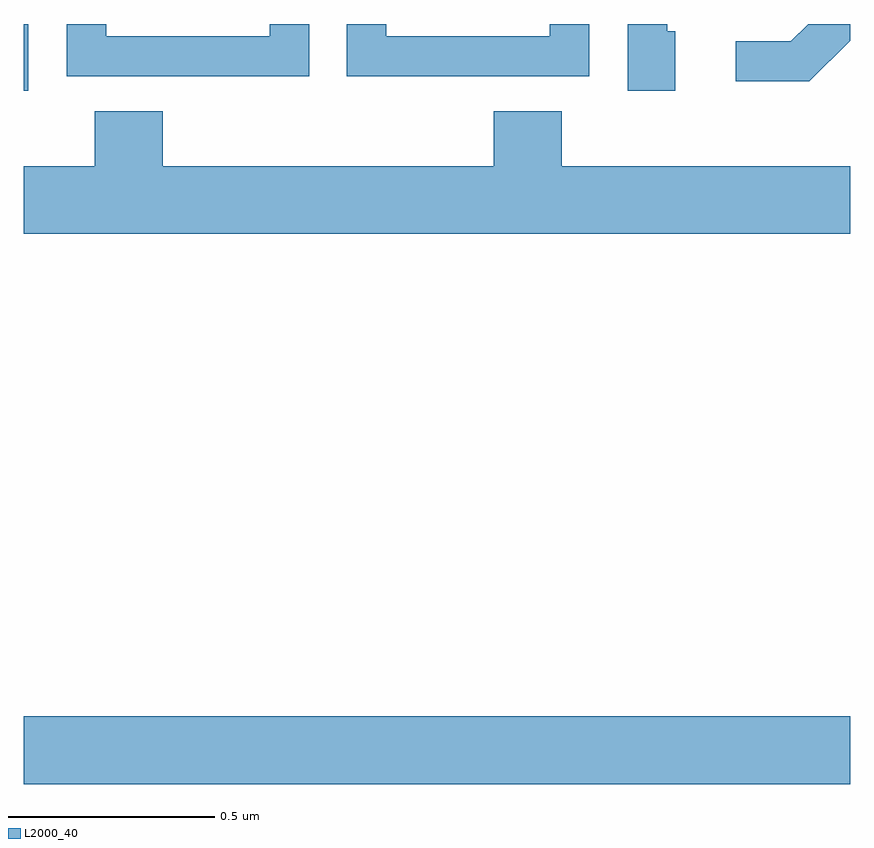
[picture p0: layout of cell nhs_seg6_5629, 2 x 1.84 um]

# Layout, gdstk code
import gdstk
lib = gdstk.Library(unit=1e-6, precision=1e-09)
def R(c, l, rs):  # rectangles x0, y0, x1, y1
    for r in rs: c.add(gdstk.rectangle(r[:2], r[2:], *l))
def P(c, l, *ps):  # polygons
    for p in ps: c.add(gdstk.Polygon(p, *l))
L2000_40 = (2000, 40)

nhs_seg6_5629 = lib.new_cell('nhs_seg6_5629')
R(nhs_seg6_5629, L2000_40, [(185,956.66,187,956.824), (185,958.338,185.01,958.5)])
P(nhs_seg6_5629, L2000_40, [(186.577,958.482),(186.558,958.482),(186.558,958.5),(186.462,958.5),(186.462,958.338),(186.577,958.338)],
  [(186.053,958.374),(186.369,958.374),(186.369,958.5),(186.273,958.5),(186.273,958.47),(185.877,958.47),(185.877,958.5),(185.781,958.5),(185.781,958.373),(186.053,958.373)],
  [(185.691,958.5),(185.595,958.5),(185.595,958.47),(185.199,958.47),(185.199,958.5),(185.103,958.5),(185.103,958.374),(185.419,958.374),(185.419,958.373),(185.691,958.373)],
  [(187,958.459),(187,958.5),(186.899,958.5),(186.857,958.458),(186.723,958.458),(186.723,958.361),(186.901,958.361)],
  [(187,958.156),(186.302,958.156),(186.302,958.289),(186.137,958.289),(186.137,958.156),(185.336,958.156),(185.336,958.289),(185.171,958.289),(185.171,958.156),(185,958.156),(185,957.992),(187,957.992)])

lib.write_gds('nhs_seg6_5629.gds')
